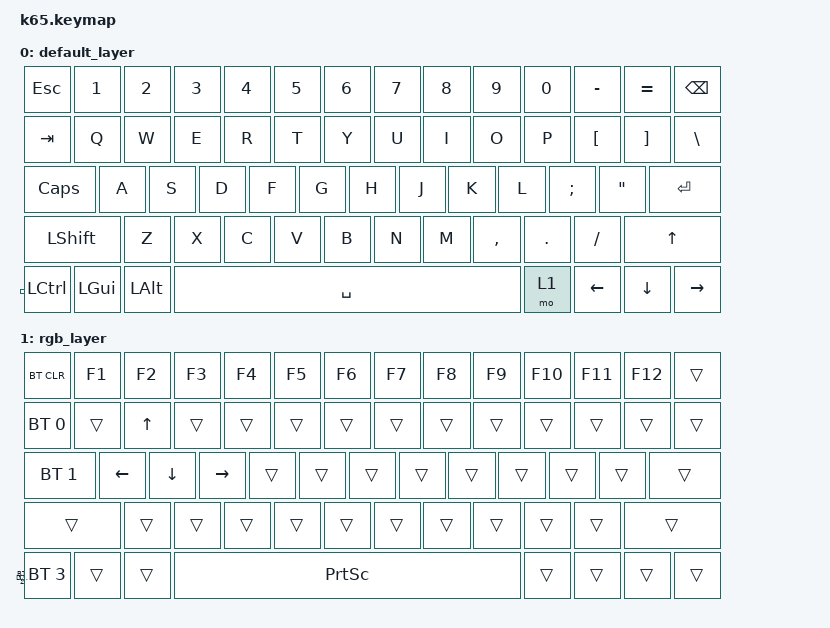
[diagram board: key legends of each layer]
/*
* Copyright (c) 2022 The ZMK Contributors
*
* SPDX-License-Identifier: MIT
*/

#include <behaviors.dtsi>
#include <dt-bindings/zmk/keys.h>
#include <dt-bindings/zmk/bt.h>

/ {
	keymap {
		compatible = "zmk,keymap";
		default_layer {
			
			// ------------------------------------------------------------------------------------------
			// |  ESC  |  1   |  2   |  3   |  4   |  5   |  6   |  7   |  8   |  9   |  0   |  MINUS |
			// |  TAB  |  Q   |  W   |  E   |  R   |  T   |  Y   |  U   |  I   |  O   |  P   |  LBRC |
			// | CAPS  |  A   |  S   |  D   |  F   |  G   |  H   |  J   |  K   |  L   | SCLN | QUOT |
			// | LSFT  |  Z   |  X   |  C   |  V   |  B   |  N   |  M   | COMM | DOT  | SLSH |  UP  |
			// | LCTL  | LGUI | LALT |      | SPC  |      |      |      |      |      | MO(1)| LEFT |
			// | DOWN  | RGHT |
			
			bindings = <
			&kp ESC    &kp N1      &kp N2      &kp N3      &kp N4      &kp N5    &kp N6    &kp N7   &kp N8    &kp N9      &kp N0      &kp MINUS   &kp EQUAL   &kp BSPC
			&kp TAB    &kp Q       &kp W       &kp E       &kp R       &kp T     &kp Y     &kp U    &kp I     &kp O       &kp P       &kp LBKT    &kp RBKT    &kp BSLH
			&kp CAPS   &kp A       &kp S       &kp D       &kp F       &kp G     &kp H     &kp J    &kp K     &kp L       &kp SEMI    &kp DQT     &none       &kp ENTER
			&none      &kp LSHIFT  &kp Z       &kp X       &kp C       &kp V     &kp B     &kp N    &kp M     &kp COMMA   &kp DOT     &kp SLASH   &none       &kp UP
			&kp LCTL   &kp LGUI    &kp LALT    &none       &kp SPACE   &none     &none     &none    &none     &none       &mo 1       &kp LEFT    &kp DOWN    &kp RIGHT
			>;
		};
		rgb_layer {
			// ------------------------------------------------------------------------------------------------
			// | BT CLR | F1  | F2  | F3  | F4  | F5  | F6  | F7  | F8  | F9  | F10  | F11 | F12 | EFFECT REV |
			// |  BT 1   |   |  UP |   | HUEUP | SATUP | BRIUP | SPDUP |   |     |    |     |     |           |
			// |   BT 2   | LT |  DN  | RT | HUEDN | SATDN | BRIDN | SPDDN |   |     |   |     |  EFFECT FORW |
			// |    BT 3     |     |      |      |     |     |     |     |     |     |     |                  |
			// |   BT 4  |      |      |             TOG RGB                | PRT SCR |       |       |  DEL  |
			// ------------------------------------------------------------------------------------------------
			bindings = <
			&bt BT_CLR    &kp F1    &kp F2    &kp F3    &kp F4       &kp F5      &kp F6    &kp F7    &kp F8   &kp F9   &kp F10  &kp F11 &kp F12  &trans
			&bt BT_SEL 0  &trans    &kp UP    &trans    &trans       &trans      &trans    &trans    &trans   &trans   &trans   &trans  &trans   &trans
			&bt BT_SEL 1  &kp LEFT  &kp DOWN  &kp RIGHT &trans       &trans      &trans    &trans    &trans   &trans   &trans   &trans  &trans   &trans
			&bt BT_SEL 2  &trans    &trans    &trans    &trans       &trans      &trans    &trans    &trans   &trans   &trans   &trans   &trans   &trans
			&bt BT_SEL 3  &trans    &trans    &trans    &kp PSCRN    &trans      &trans    &kp DEL   &trans   &trans   &trans   &trans   &trans   &trans
			>;
		};
	};
};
